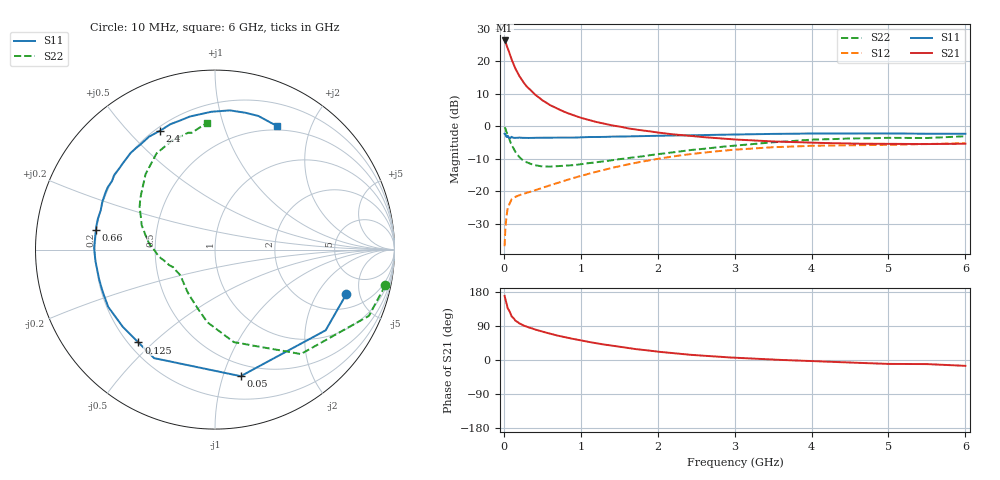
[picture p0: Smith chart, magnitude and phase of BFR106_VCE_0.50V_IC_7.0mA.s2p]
! Infineon Technologies  Discrete & RF Semiconductors
! BFR106
! VCE = 0.50 V,  IC =  7.0 mA
! Common Emitter S-Parameters:  Nov 2015
# GHz  S  MA  R  50
!  f  S11  S21  S12  S22
! GHz  MAG  ANG  MAG  ANG  MAG  ANG  MAG  ANG
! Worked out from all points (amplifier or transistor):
!   210 points, 10 MHz to 6 GHz, reference 50 ohm
!   highest |S21| = 26.5 dB at 10 MHz (marker M1)
!   |S21| within 3 dB of that: start of sweep to 59.96 MHz
!   unconditionally stable (mu >= 1): 502.1 MHz to end of sweep
!   at 185 MHz: K = 0.49, MSG = 18.8 dB, |S12| = -21.3 dB
!   at 1.52 GHz: K = 1.16, MAG = 3.6 dB, |S12| = -12.1 dB
!   at 6 GHz: K = 1.03, MAG = -1.1 dB, |S12| = -5.2 dB
!   S11 on the Smith chart (normalised r, x): 10 MHz: 3.02, -3.72; 50 MHz: 0.39, -1.15; 125 MHz: 0.24, -0.45; 660 MHz: 0.20, +0.08; 2.4 GHz: 0.22, +0.62; 6 GHz: 0.45, +1.53
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0.01  0.7727 -18.7  21.05 169.1  0.0144 82.3  0.9691 -11.9
0.02  0.7631 -36.1  20.33 159.9  0.0277 72.8  0.9336 -23.3
0.05  0.7197 -78.5  16.08 136.5  0.0559 53.3  0.7533 -50.6
0.1  0.6934 -119.3  10.77 115.5  0.0755 38.7  0.5261 -78.5
0.125  0.6707 -129.5  9.207 110.7  0.079 35.9  0.4612 -86.1
0.15  0.6701 -140.0  7.734 103.9  0.0827 33.4  0.4069 -96.0
0.2  0.6752 -151.8  6.014 96.9  0.0874 32.4  0.3393 -106.9
0.24  0.6686 -158.2  5.08 92.7  0.0909 32.6  0.3073 -114.5
0.3  0.6663 -165.7  4.091 87.4  0.0954 34.2  0.2802 -123.4
0.4  0.6692 -174.5  3.132 80.6  0.1038 37.0  0.2541 -133.9
0.5  0.6739 179.3  2.531 74.8  0.1136 39.8  0.2426 -140.9
0.6  0.6717 173.5  2.134 69.3  0.1241 42.2  0.2411 -145.6
0.66  0.6726 170.8  1.969 66.5  0.1307 43.6  0.2436 -148.3
0.8  0.6748 165.2  1.652 60.0  0.1477 46.0  0.2496 -154.1
1.02  0.6828 156.3  1.341 51.0  0.1759 48.0  0.2641 -160.0
1.4  0.6988 143.5  1.04 38.1  0.2298 47.8  0.3021 -170.2
2.02  0.7185 125.0  0.803 21.6  0.3202 41.8  0.3775 172.4
2.4  0.7297 114.7  0.722 14.1  0.373 36.3  0.4312 161.4
3.1  0.7558 98.8  0.622 5.0  0.4467 24.7  0.5177 142.3
4.1  0.7795 82.6  0.559 -3.6  0.5057 9.1  0.6307 119.3
5.1  0.7803 71.0  0.538 -10.4  0.5244 -2.6  0.6673 102.6
6  0.7718 63.3  0.544 -15.4  0.5523 -11.1  0.708 93.6
